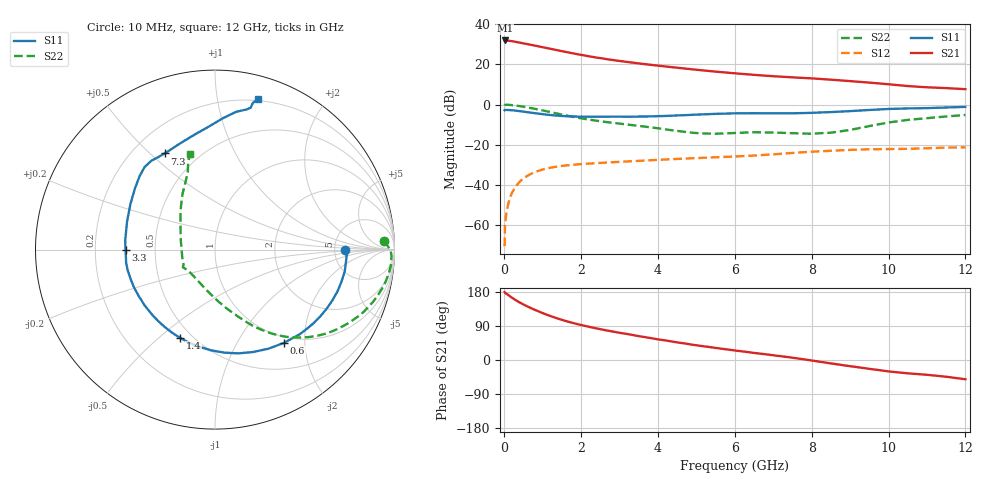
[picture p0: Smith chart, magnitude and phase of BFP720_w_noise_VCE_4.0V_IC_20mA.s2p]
! Infineon Technologies  Discrete & RF Semiconductors
! BFP720
! VCE =  4.0 V,  IC =  20 mA
! Common Emitter S-Parameters:  Aug 2012
# GHz  S  MA  R  50
!  f  S11  S21  S12  S22
! GHz  MAG  ANG  MAG  ANG  MAG  ANG  MAG  ANG
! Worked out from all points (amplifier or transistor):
!   105 points, 10 MHz to 12 GHz, reference 50 ohm
!   highest |S21| = 31.9 dB at 20 MHz (marker M1)
!   |S21| within 3 dB of that: start of sweep to 909.1 MHz
!   unconditionally stable (mu >= 1): start of sweep to 14.88 MHz; 4.439 GHz to 9.982 GHz
!   at 300 MHz: K = 0.19, MSG = 36.0 dB, |S12| = -40.8 dB
!   at 3.6 GHz: K = 0.89, MSG = 24.1 dB, |S12| = -27.9 dB
!   at 12 GHz: K = 0.75, MSG = 14.5 dB, |S12| = -21.3 dB
!   lowest NFmin = 0.77 dB at 450 MHz
!   S11 on the Smith chart (normalised r, x): 10 MHz: 6.25, +0.00; 600 MHz: 0.90, -1.60; 1.4 GHz: 0.43, -0.59; 3.3 GHz: 0.33, -0.00; 7.3 GHz: 0.33, +0.56; 12 GHz: 0.19, +1.31
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0.01  0.724 -0.0  39.24 179.2  0.0003 -73.2  0.9441 2.9
0.02  0.7361 -1.4  39.26 177.2  0.001 67.1  0.978 -0.2
0.05  0.7332 -4.5  39.23 175.3  0.0018 87.7  0.9841 -2.1
0.15  0.7269 -14.2  38.31 168.1  0.0048 78.6  0.9771 -8.0
0.3  0.7041 -27.8  36.19 157.9  0.0091 74.2  0.942 -15.7
0.45  0.6758 -40.8  33.96 149.2  0.0132 69.0  0.8988 -22.6
0.6  0.6463 -53.5  31.86 141.5  0.0168 64.0  0.8494 -28.8
0.7  0.6274 -61.6  30.48 136.7  0.0189 60.8  0.8161 -32.7
0.9  0.5924 -77.4  27.91 127.9  0.0226 55.1  0.7485 -39.8
1.1  0.5618 -92.1  25.51 119.8  0.0255 50.0  0.6814 -46.0
1.4  0.5287 -111.7  22.26 109.2  0.0289 44.2  0.591 -53.8
1.7  0.5088 -128.3  19.5 100.1  0.0312 39.8  0.5148 -60.0
2.1  0.498 -145.1  16.54 90.1  0.0335 35.9  0.4388 -66.6
2.6  0.498 -160.9  13.79 79.3  0.0358 32.9  0.3726 -73.4
3.3  0.4983 -179.9  11.15 66.8  0.0389 30.3  0.3104 -82.4
4.1  0.5171 160.1  9.062 53.0  0.0426 28.1  0.2489 -95.8
5  0.5618 142.5  7.338 38.8  0.0466 25.6  0.1954 -121.3
6.1  0.6049 129.5  5.876 23.9  0.0516 23.4  0.1978 -147.7
7.3  0.605 117.7  4.87 8.7  0.0605 21.3  0.1967 -153.7
8.5  0.6497 100.3  4.153 -9.0  0.0708 13.8  0.1994 163.3
10.5  0.8003 77.3  2.883 -35.2  0.0791 -0.1  0.4144 113.2
12  0.8732 73.9  2.411 -50.8  0.0862 -9.5  0.5499 104.8
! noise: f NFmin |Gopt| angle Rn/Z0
0.45  0.77  0.18  1  0.29
1.8  0.82  0.18  8  0.14
2.4  0.88  0.18  11  0.54
5.5  1.11  0.17  -64  0.18
10  1.26  0.48  -71  0.33
